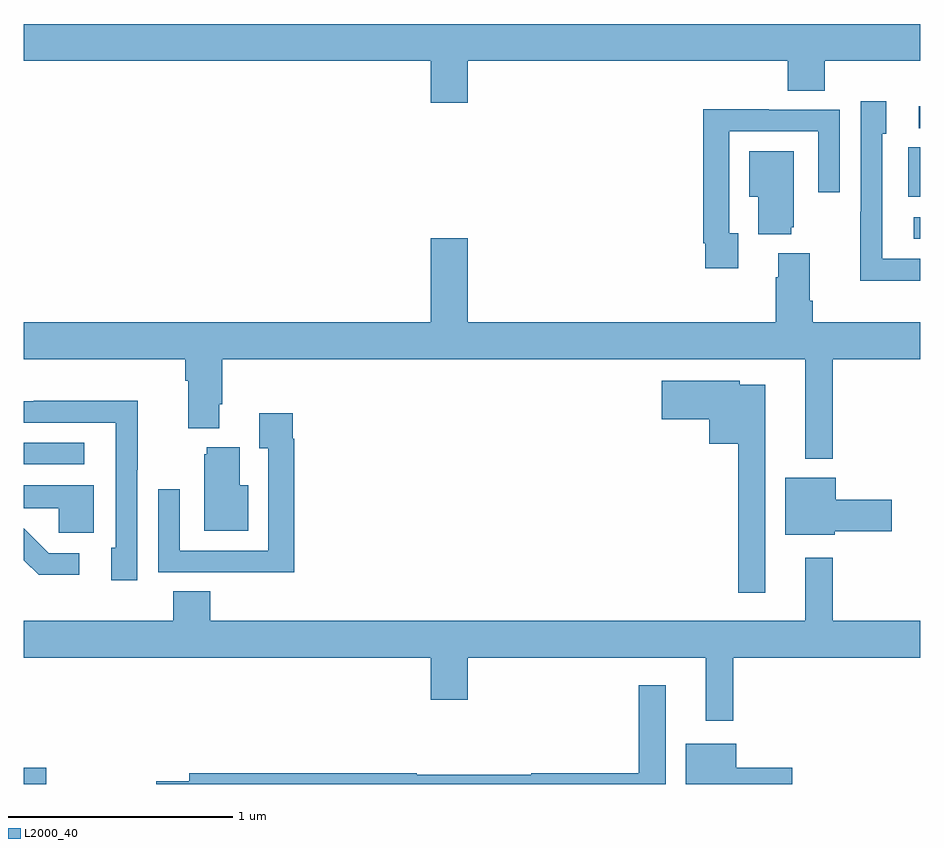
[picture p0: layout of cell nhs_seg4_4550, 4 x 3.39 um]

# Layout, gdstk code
import gdstk
lib = gdstk.Library(unit=1e-6, precision=1e-09)
def R(c, l, rs):  # rectangles x0, y0, x1, y1
    for r in rs: c.add(gdstk.rectangle(r[:2], r[2:], *l))
def P(c, l, *ps):  # polygons
    for p in ps: c.add(gdstk.Polygon(p, *l))
L2000_40 = (2000, 40)

nhs_seg4_4550 = lib.new_cell('nhs_seg4_4550')
R(nhs_seg4_4550, L2000_40, [(355,818.9,355.099,818.973), (355,820.326,355.27,820.422), (358.971,821.334,359,821.43), (358.946,821.522,359,821.741), (358.995,821.826,359,821.924)])
P(nhs_seg4_4550, L2000_40, [(356.98,822.128),(358.409,822.128),(358.409,821.995),(358.574,821.995),(358.574,822.128),(359,822.128),(359,822.292),(355,822.292),(355,822.128),(356.816,822.128),(356.816,821.94),(356.98,821.94)],
  [(359,821.244),(358.83,821.244),(358.83,821.802),(358.849,821.802),(358.849,821.947),(358.734,821.947),(358.734,821.453),(358.732,821.453),(358.732,821.147),(359,821.147)],
  [(358.189,821.358),(358.149,821.358),(358.149,821.814),(358.545,821.814),(358.545,821.541),(358.641,821.541),(358.641,821.91),(358.325,821.91),(358.325,821.912),(358.033,821.912),(358.033,821.314),(358.041,821.314),(358.041,821.202),(358.189,821.202)],
  [(358.424,821.385),(358.435,821.385),(358.435,821.725),(358.238,821.725),(358.238,821.522),(358.277,821.522),(358.277,821.354),(358.424,821.354)],
  [(358.609,820.796),(359,820.796),(359,820.96),(358.52,820.96),(358.52,821.056),(358.507,821.056),(358.507,821.269),(358.367,821.269),(358.367,821.162),(358.355,821.162),(358.355,820.96),(356.98,820.96),(356.98,821.335),(356.816,821.335),(356.816,820.96),(355,820.96),(355,820.796),(355.721,820.796),(355.721,820.7),(355.733,820.7),(355.733,820.487),(355.873,820.487),(355.873,820.594),(355.886,820.594),(355.886,820.796),(358.487,820.796),(358.487,820.352),(358.609,820.352)],
  [(358.309,820.681),(358.194,820.681),(358.194,820.699),(357.846,820.699),(357.846,820.529),(358.058,820.529),(358.058,820.418),(358.188,820.418),(358.188,819.753),(358.309,819.753)],
  [(355.506,820.303),(355.509,820.303),(355.509,820.61),(355.045,820.61),(355.045,820.608),(355,820.608),(355,820.512),(355.409,820.512),(355.409,820.258),(355.41,820.258),(355.41,819.954),(355.391,819.954),(355.391,819.81),(355.506,819.81)],
  [(356.207,820.442),(356.2,820.442),(356.2,820.555),(356.051,820.555),(356.051,820.399),(356.091,820.399),(356.091,819.942),(355.695,819.942),(355.695,820.216),(355.599,820.216),(355.599,819.846),(355.915,819.846),(355.915,819.845),(356.207,819.845)],
  [(356.002,820.234),(355.963,820.234),(355.963,820.402),(355.817,820.402),(355.817,820.371),(355.805,820.371),(355.805,820.031),(356.002,820.031)],
  [(358.62,820.027),(358.873,820.027),(358.873,820.169),(358.624,820.169),(358.624,820.267),(358.397,820.267),(358.397,820.013),(358.62,820.013)],
  [(355.312,820.234),(355,820.234),(355,820.13),(355.155,820.13),(355.155,820.022),(355.312,820.022)],
  [(355.246,819.93),(355.111,819.93),(355,820.041),(355,819.899),(355.067,819.833),(355.246,819.833)],
  [(358.165,819.464),(359,819.464),(359,819.628),(358.609,819.628),(358.609,819.91),(358.487,819.91),(358.487,819.628),(355.832,819.628),(355.832,819.761),(355.667,819.761),(355.667,819.628),(355,819.628),(355,819.464),(356.816,819.464),(356.816,819.276),(356.98,819.276),(356.98,819.464),(358.043,819.464),(358.043,819.183),(358.165,819.183)],
  [(357.865,819.34),(357.744,819.34),(357.744,818.948),(357.265,818.948),(357.265,818.941),(356.754,818.941),(356.754,818.948),(355.739,818.948),(355.739,818.912),(355.59,818.912),(355.59,818.9),(357.865,818.9)],
  [(358.429,818.973),(358.18,818.973),(358.18,819.079),(357.953,819.079),(357.953,818.9),(358.429,818.9)])

lib.write_gds('nhs_seg4_4550.gds')
